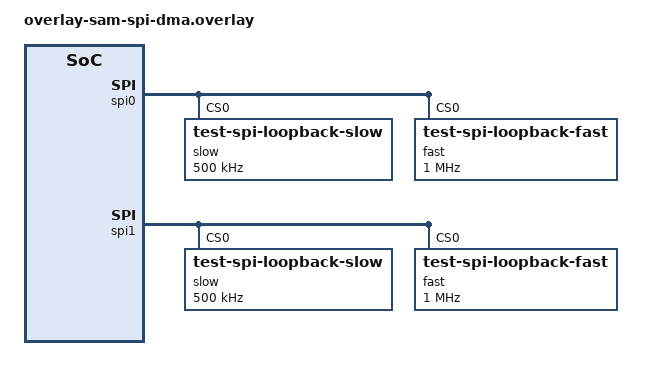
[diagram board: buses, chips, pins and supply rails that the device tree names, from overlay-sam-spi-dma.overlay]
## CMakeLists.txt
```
# SPDX-License-Identifier: Apache-2.0

cmake_minimum_required(VERSION 3.28.0)

find_package(Zephyr REQUIRED HINTS $ENV{ZEPHYR_BASE})
project(spi_loopback)

target_sources(app PRIVATE src/spi.c)
target_sources_ifdef(CONFIG_SPI_RTIO app PRIVATE src/spi_rtio.c)
target_sources_ifdef(CONFIG_SPI_LOOPBACK_PM app PRIVATE src/test_spi_pm.c)
target_include_directories(app PRIVATE ${ZEPHYR_BASE}/drivers/spi)
```

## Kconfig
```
# SPDX-License-Identifier: Apache-2.0

mainmenu "SPI Loopback Test"

source "Kconfig.zephyr"

config SPI_LOOPBACK_MODE_LOOP
	bool "Configure the SPI in LOOP mode, so that no extra wiring is needed"

config SPI_LARGE_BUFFER_SIZE
	int "Large buffer size"
	default 8192

config SPI_LOOPBACK_PM
	bool "SPI loopback light sleep test"
	depends on PM
	help
	  Run the light sleep cases in the SPI loopback suite.

config SPI_IDEAL_TRANSFER_DURATION_SCALING
	int "Scaling factor to compare ideal and measured SPI transfer duration"
	default 40 if SPI_NXP_LPSPI_DMA || SPI_MCUX_FLEXIO
	default 8

config SPI_LOOPBACK_TEST_BUSY_DEINIT
	bool "Exercise device_deinit() while a transfer is in flight"
	depends on SPI_ASYNC
	help
	  Enable test_spi_deinit_busy, which asserts the driver rejects
	  device_deinit() with -EBUSY while an asynchronous transfer is still in
	  flight, then succeeds once it completes. Select this only on drivers
	  that implement that busy guard.

if SOC_SERIES_STM32H7X

config SPI_LOOPBACK_16BITS_FRAMES
	bool "Use 16 bits frames for tests"

config DT_DEFINED_NOCACHE
	bool "Enable this if nocache regions are defined in devicetree"

if DT_DEFINED_NOCACHE

config DT_DEFINED_NOCACHE_NAME
	string "Name of the nocache region defined in devicetree (capitals)"

endif # DT_DEFINED_NOCACHE

endif # SOC_SERIES_STM32H7X
```

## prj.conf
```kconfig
CONFIG_TEST=y
CONFIG_BOOT_BANNER=y
CONFIG_SPI=y
CONFIG_SPI_ASYNC=y
CONFIG_SPI_LOG_LEVEL_INF=y
CONFIG_ZTEST=y
CONFIG_ZTEST_THREAD_PRIORITY=1
CONFIG_DEVICE_DEINIT_SUPPORT=y
```

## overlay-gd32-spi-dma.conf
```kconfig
# enable DMA mode for SPI loopback test
CONFIG_SPI_GD32_DMA=y
```

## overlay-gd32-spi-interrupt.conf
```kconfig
# enable interrupt mode for SPI loopback test
CONFIG_SPI_GD32_INTERRUPT=y
```

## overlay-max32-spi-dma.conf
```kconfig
#
# Copyright (c) 2024 Analog Devices, Inc.
#
# SPDX-License-Identifier: Apache-2.0
#
CONFIG_SPI_MAX32_DMA=y
CONFIG_SPI_ASYNC=y
```

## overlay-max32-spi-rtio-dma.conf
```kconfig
#
# Copyright (c) 2024 Analog Devices, Inc.
#
# SPDX-License-Identifier: Apache-2.0
#
CONFIG_SPI_RTIO=y
CONFIG_SPI_ASYNC=n
CONFIG_SPI_MAX32_DMA=y
```

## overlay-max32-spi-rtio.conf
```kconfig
#
# Copyright (c) 2024 Analog Devices, Inc.
#
# SPDX-License-Identifier: Apache-2.0
#
CONFIG_SPI_RTIO=y
CONFIG_SPI_ASYNC=n
```

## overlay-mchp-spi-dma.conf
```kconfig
# Copyright (c) 2026 Microchip Technology Inc.
# SPDX-License-Identifier: Apache-2.0

CONFIG_DMA=y
```

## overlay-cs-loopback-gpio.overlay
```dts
#include <zephyr/dt-bindings/gpio/gpio.h>
#include <zephyr/dt-bindings/gpio/arduino-header-r3.h>

/ {
	zephyr,user {
		/* Connect your SPI CS pin to the D8 pin to run the test */
		cs-loopback-gpios = <&arduino_header>,
				    <ARDUINO_HEADER_R3_D8>,
				    <(GPIO_ACTIVE_LOW | GPIO_PUSH_PULL | GPIO_PULL_UP)>;
	};
};
```

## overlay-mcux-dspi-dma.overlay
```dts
/*
 * Copyright (c) 2022 Kumar Gala <galak@kernel.org>
 *
 * SPDX-License-Identifier: Apache-2.0
 */

&spi0 {
	slow@0 {
		compatible = "test-spi-loopback-slow";
		reg = <0>;
		spi-max-frequency = <500000>;
	};

	fast@0 {
		compatible = "test-spi-loopback-fast";
		reg = <0>;
		spi-max-frequency = <1000000>;
	};
};
```

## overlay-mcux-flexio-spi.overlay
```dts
/*
 * Copyright (c) 2024, STRIM, ALC
 * Copyright (c) 2025, NXP
 *
 * SPDX-License-Identifier: Apache-2.0
 */

/* On RT1060 EVKC, SPI loopback test, short J17-9 and J17-10
 * On RT1064 EVK,  SPI loopback test, short J24-9 and J24-10
 */

&pinctrl {
	pinmux_flexio3spi0: pinmux_flexio3spi0 {
		group0 {
			pinmux = <&iomuxc_gpio_ad_b0_03_gpio1_io03>, /* cs */
				 <&iomuxc_gpio_ad_b1_10_flexio3_flexio10>, /* sck */
				 <&iomuxc_gpio_ad_b1_00_flexio3_flexio00>, /* sdo */
				 <&iomuxc_gpio_ad_b1_01_flexio3_flexio01>; /* sdi */
			drive-strength = "r0-6";
			slew-rate = "slow";
			nxp,speed = "150-mhz";
		};
	};
};

&flexio3 {
	status = "okay";

	flexio3_spi0: flexio3_spi0 {
		compatible = "nxp,flexio-spi";
		#address-cells = <1>;
		#size-cells = <0>;
		cs-gpios = <&gpio1 3 GPIO_ACTIVE_LOW>;
		sdo-pin = <0>;
		sdi-pin = <1>;
		sck-pin = <10>;
		pinctrl-0 = <&pinmux_flexio3spi0>;
		pinctrl-names = "default";
		status = "okay";

		slow@0 {
			compatible = "test-spi-loopback-slow";
			reg = <0>;
			spi-max-frequency = <500000>;
			status = "okay";
		};

		fast@0 {
			compatible = "test-spi-loopback-fast";
			reg = <0>;
			spi-max-frequency = <16000000>;
			status = "okay";
		};
	};
};
```

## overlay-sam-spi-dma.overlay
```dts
/*
 * Copyright (c) 2022 Intel Corporation
 *
 * SPDX-License-Identifier: Apache-2.0
 */

&dma0 {
	status = "okay";
};

&spi0 {
	loopback;

	dmas = <&dma0 1 DMA_PERID_SPI0_TX>, <&dma0 2 DMA_PERID_SPI0_RX>;
	dma-names = "tx", "rx";

	slow@0 {
		compatible = "test-spi-loopback-slow";
		reg = <0>;
		spi-max-frequency = <500000>;
	};

	fast@0 {
		compatible = "test-spi-loopback-fast";
		reg = <0>;
		spi-max-frequency = <1000000>;
	};
};

&spi1 {
	loopback;

	dmas = <&dma0 3 DMA_PERID_SPI1_TX>, <&dma0 4 DMA_PERID_SPI1_RX>;
	dma-names = "tx", "rx";

	slow@0 {
		compatible = "test-spi-loopback-slow";
		reg = <0>;
		spi-max-frequency = <500000>;
	};

	fast@0 {
		compatible = "test-spi-loopback-fast";
		reg = <0>;
		spi-max-frequency = <1000000>;
	};
};
```

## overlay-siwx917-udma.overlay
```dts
/*
 * Copyright (c) 2026 Silicon Laboratories Inc.
 *
 * SPDX-License-Identifier: Apache-2.0
 */

&spi0 {
	dmas = <&dma0 11>, <&dma0 10>;
};
```

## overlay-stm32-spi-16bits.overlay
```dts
/*
 * Copyright (c) 2023 Graphcore Ltd, All rights reserved.
 *
 * SPDX-License-Identifier: Apache-2.0
 */

/* Set div-q to get test clk freq into acceptable SPI freq range */
&pll {
	/delete-property/ div-q;
	div-q = <8>;
};

&sram2 {
	zephyr,memory-attr = < DT_MEM_ARM(ATTR_MPU_RAM_NOCACHE) >;
};

&spi1 {
	dmas = <&dmamux1 0 38 (STM32_DMA_PERIPH_TX | STM32_DMA_PRIORITY_HIGH | STM32_DMA_MEM_16BITS | STM32_DMA_PERIPH_16BITS)
		&dmamux1 1 37 (STM32_DMA_PERIPH_RX | STM32_DMA_PRIORITY_HIGH | STM32_DMA_MEM_16BITS | STM32_DMA_PERIPH_16BITS)>;
	dma-names = "tx", "rx";
	slow@0 {
		compatible = "test-spi-loopback-slow";
		reg = <0>;
		spi-max-frequency = <500000>;
	};
	fast@0 {
		compatible = "test-spi-loopback-fast";
		reg = <0>;
		spi-max-frequency = <16000000>;
	};
};

&dma1 {
	status = "okay";
};

&dma2 {
	status = "okay";
};

&dmamux1 {
	status = "okay";
};
```

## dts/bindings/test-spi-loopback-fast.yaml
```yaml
#
# Copyright (c) 2022 Kumar Gala <galak@kernel.org>
#
# SPDX-License-Identifier: Apache-2.0
#

description: |
    This binding provides resources required to build and run the
    tests/drivers/spi/spi_loopback test in Zephyr.

compatible: "test-spi-loopback-fast"

include: [spi-device.yaml]
```

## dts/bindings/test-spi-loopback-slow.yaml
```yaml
#
# Copyright (c) 2022 Kumar Gala <galak@kernel.org>
#
# SPDX-License-Identifier: Apache-2.0
#

description: |
    This binding provides resources required to build and run the
    tests/drivers/spi/spi_loopback test in Zephyr.

compatible: "test-spi-loopback-slow"

include: [spi-device.yaml]
```

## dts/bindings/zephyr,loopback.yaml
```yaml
# Copyright (c) 2022, CSIRO.
# SPDX-License-Identifier: Apache-2.0

description: |
  SPI Loopback Device

compatible: "zephyr,spi-loopback"

include: spi-device.yaml
```

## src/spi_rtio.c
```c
/*
 * Copyright (c) 2023 Intel Corporation.
 *
 * SPDX-License-Identifier: Apache-2.0
 */

#include <zephyr/devicetree.h>
#define LOG_LEVEL CONFIG_LOG_DEFAULT_LEVEL
#include <zephyr/logging/log.h>
LOG_MODULE_REGISTER(spi_rtio_loopback);

#include <zephyr/kernel.h>
#include <zephyr/sys/printk.h>
#include <string.h>
#include <stdio.h>
#include <zephyr/ztest.h>

#include <zephyr/rtio/rtio.h>
#include <zephyr/drivers/spi.h>
#include "spi_rtio.h"

#define SPI_FAST_DEV	DT_COMPAT_GET_ANY_STATUS_OKAY(test_spi_loopback_fast)
#define SPI_SLOW_DEV	DT_COMPAT_GET_ANY_STATUS_OKAY(test_spi_loopback_slow)

#if CONFIG_SPI_LOOPBACK_MODE_LOOP
#define MODE_LOOP SPI_MODE_LOOP
#else
#define MODE_LOOP 0
#endif

#define SPI_OP SPI_OP_MODE_CONTROLLER | SPI_MODE_CPOL | MODE_LOOP | \
	       SPI_MODE_CPHA | SPI_WORD_SET(8) | SPI_LINES_SINGLE

static SPI_DT_IODEV_DEFINE(spi_fast, SPI_FAST_DEV, SPI_OP);
static SPI_DT_IODEV_DEFINE(spi_slow, SPI_FAST_DEV, SPI_OP);

RTIO_DEFINE(r, 8, 8);

/* to run this test, connect the SDO pin to the SDI of the SPI */

#define STACK_SIZE (512 + CONFIG_TEST_EXTRA_STACK_SIZE)
#define BUF_SIZE 17
#define BUF2_SIZE 36

#if CONFIG_NOCACHE_MEMORY
static const char tx_data[BUF_SIZE] = "0123456789abcdef\0";
static __aligned(32) char buffer_tx[BUF_SIZE] __used __attribute__((__section__(".nocache")));
static __aligned(32) char buffer_rx[BUF_SIZE] __used __attribute__((__section__(".nocache")));
static const char tx2_data[BUF2_SIZE] = "Thequickbrownfoxjumpsoverthelazydog\0";
static __aligned(32) char buffer2_tx[BUF2_SIZE] __used __attribute__((__section__(".nocache")));
static __aligned(32) char buffer2_rx[BUF2_SIZE] __used __attribute__((__section__(".nocache")));
#else
/* this src memory shall be in RAM to support using as a DMA source pointer.*/
static uint8_t buffer_tx[] = "0123456789abcdef\0";
static uint8_t buffer_rx[BUF_SIZE] = {};

static uint8_t buffer2_tx[] = "Thequickbrownfoxjumpsoverthelazydog\0";
static uint8_t buffer2_rx[BUF2_SIZE] = {};
#endif

/*
 * We need 5x(buffer size) + 1 to print a comma-separated list of each
 * byte in hex, plus a null.
 */
static uint8_t buffer_print_tx[BUF_SIZE * 5 + 1];
static uint8_t buffer_print_rx[BUF_SIZE * 5 + 1];

static uint8_t buffer_print_tx2[BUF2_SIZE * 5 + 1];
static uint8_t buffer_print_rx2[BUF2_SIZE * 5 + 1];



static void to_display_format(const uint8_t *src, size_t size, char *dst)
{
	size_t i;

	for (i = 0; i < size; i++) {
		sprintf(dst + 5 * i, "0x%02x,", src[i]);
	}
}

/* test transferring different buffers on the same dma channels */
static int spi_complete_multiple(struct rtio_iodev *spi_iodev)
{
	struct rtio_sqe *sqe;
	struct rtio_cqe *cqe;
	int ret;

	sqe = rtio_sqe_acquire(&r);
	rtio_sqe_prep_transceive(sqe, spi_iodev, RTIO_PRIO_NORM,
				buffer_tx, buffer_rx, BUF_SIZE, NULL);
	sqe->flags |= RTIO_SQE_TRANSACTION;
	sqe = rtio_sqe_acquire(&r);
	rtio_sqe_prep_transceive(sqe, spi_iodev, RTIO_PRIO_NORM,
				 buffer2_tx, buffer2_rx, BUF2_SIZE, NULL);

	LOG_INF("Start complete multiple");
	rtio_submit(&r, 1);
	cqe = rtio_cqe_consume(&r);
	ret = cqe->result;
	rtio_cqe_release(&r, cqe);

	if (ret) {
		LOG_ERR("Code %d", ret);
		zassert_false(ret, "SPI transceive failed");
		return ret;
	}

	if (memcmp(buffer_tx, buffer_rx, BUF_SIZE)) {
		to_display_format(buffer_tx, BUF_SIZE, buffer_print_tx);
		to_display_format(buffer_rx, BUF_SIZE, buffer_print_rx);
		LOG_ERR("Buffer contents are different: %s", buffer_print_tx);
		LOG_ERR("                           vs: %s", buffer_print_rx);
		zassert_false(1, "Buffer contents are different");
		return -1;
	}

	if (memcmp(buffer2_tx, buffer2_rx, BUF2_SIZE)) {
		to_display_format(buffer2_tx, BUF2_SIZE, buffer_print_tx2);
		to_display_format(buffer2_rx, BUF2_SIZE, buffer_print_rx2);
		LOG_ERR("Buffer 2 contents are different: %s", buffer_print_tx2);
		LOG_ERR("                             vs: %s", buffer_print_rx2);
		zassert_false(1, "Buffer 2 contents are different");
		return -1;
	}

	LOG_INF("Passed");

	return 0;
}

static int spi_complete_loop(struct rtio_iodev *spi_iodev)
{
	struct rtio_sqe *sqe;
	struct rtio_cqe *cqe;
	int ret;

	sqe = rtio_sqe_acquire(&r);
	rtio_sqe_prep_transceive(sqe, spi_iodev, RTIO_PRIO_NORM,
				 buffer_tx,  buffer_rx, BUF_SIZE, NULL);

	LOG_INF("Start complete loop");

	rtio_submit(&r, 1);
	cqe = rtio_cqe_consume(&r);
	ret = cqe->result;
	rtio_cqe_release(&r, cqe);

	if (ret) {
		LOG_ERR("Code %d", ret);
		zassert_false(ret, "SPI transceive failed");
		return ret;
	}

	if (memcmp(buffer_tx, buffer_rx, BUF_SIZE)) {
		to_display_format(buffer_tx, BUF_SIZE, buffer_print_tx);
		to_display_format(buffer_rx, BUF_SIZE, buffer_print_rx);
		LOG_ERR("Buffer contents are different: %s", buffer_print_tx);
		LOG_ERR("                           vs: %s", buffer_print_rx);
		zassert_false(1, "Buffer contents are different");
		return -1;
	}

	LOG_INF("Passed");

	return 0;
}

static int spi_null_tx_buf(struct rtio_iodev *spi_iodev)
{
	static const uint8_t EXPECTED_NOP_RETURN_BUF[BUF_SIZE] = { 0 };

	struct rtio_sqe *sqe;
	struct rtio_cqe *cqe;
	int ret;

	(void)memset(buffer_rx, 0x77, BUF_SIZE);

	sqe = rtio_sqe_acquire(&r);
	rtio_sqe_prep_read(sqe, spi_iodev, RTIO_PRIO_NORM,
				 buffer_rx, BUF_SIZE,
				 NULL);

	LOG_INF("Start null tx");

	rtio_submit(&r, 1);
	cqe = rtio_cqe_consume(&r);
	ret = cqe->result;
	rtio_cqe_release(&r, cqe);

	if (ret) {
		LOG_ERR("Code %d", ret);
		zassert_false(ret, "SPI transceive failed");
		return ret;
	}


	if (memcmp(buffer_rx, EXPECTED_NOP_RETURN_BUF, BUF_SIZE)) {
		to_display_format(buffer_rx, BUF_SIZE, buffer_print_rx);
		LOG_ERR("Rx Buffer should contain NOP frames but got: %s",
			buffer_print_rx);
		zassert_false(1, "Buffer not as expected");
		return -1;
	}

	LOG_INF("Passed");

	return 0;
}

static int spi_rx_half_start(struct rtio_iodev *spi_iodev)
{
	struct rtio_sqe *sqe;
	struct rtio_cqe *cqe;
	int ret;

	sqe = rtio_sqe_acquire(&r);
	rtio_sqe_prep_transceive(sqe, spi_iodev, RTIO_PRIO_NORM,
				 buffer_tx, buffer_rx, 8, NULL);
	sqe->flags |= RTIO_SQE_TRANSACTION;
	sqe = rtio_sqe_acquire(&r);
	rtio_sqe_prep_write(sqe, spi_iodev, RTIO_PRIO_NORM,
				 &buffer_tx[8], BUF_SIZE-8, NULL);


	LOG_INF("Start half start");

	(void)memset(buffer_rx, 0, BUF_SIZE);

	rtio_submit(&r, 1);
	cqe = rtio_cqe_consume(&r);
	ret = cqe->result;
	rtio_cqe_release(&r, cqe);

	if (ret) {
		LOG_ERR("Code %d", ret);
		zassert_false(ret, "SPI transceive failed");
		return -1;
	}

	if (memcmp(buffer_tx, buffer_rx, 8)) {
		to_display_format(buffer_tx, 8, buffer_print_tx);
		to_display_format(buffer_rx, 8, buffer_print_rx);
		LOG_ERR("Buffer contents are different: %s", buffer_print_tx);
		LOG_ERR("                           vs: %s", buffer_print_rx);
		zassert_false(1, "Buffer contents are different");
		return -1;
	}

	LOG_INF("Passed");

	return 0;
}

static int spi_rx_half_end(struct rtio_iodev *spi_iodev)
{
	struct rtio_sqe *sqe;
	struct rtio_cqe *cqe;
	int ret;

	if (IS_ENABLED(CONFIG_SPI_STM32_DMA)) {
		LOG_INF("Skip half end");
		return 0;
	}

	if (IS_ENABLED(CONFIG_SPI_MAX32_DMA)) {
		LOG_INF("Skip half end");
		return 0;
	}

	sqe = rtio_sqe_acquire(&r);
	rtio_sqe_prep_write(sqe, spi_iodev, RTIO_PRIO_NORM,
				 buffer_tx, 8, NULL);
	sqe->flags |= RTIO_SQE_TRANSACTION;

	sqe = rtio_sqe_acquire(&r);
	rtio_sqe_prep_transceive(sqe, spi_iodev, RTIO_PRIO_NORM,
				 &buffer_tx[8],
				 buffer_rx, 8,
				 NULL);

	sqe = rtio_sqe_acquire(&r);
	rtio_sqe_prep_write(sqe, spi_iodev, RTIO_PRIO_NORM,
		&buffer_tx[16], BUF_SIZE-16, NULL);

	LOG_INF("Start half end");

	(void)memset(buffer_rx, 0, BUF_SIZE);

	rtio_submit(&r, 1);
	cqe = rtio_cqe_consume(&r);
	ret = cqe->result;
	rtio_cqe_release(&r, cqe);

	if (ret) {
		LOG_ERR("Code %d", ret);
		zassert_false(ret, "SPI transceive failed");
		return -1;
	}

	if (memcmp(buffer_tx + 8, buffer_rx, 8)) {
		to_display_format(buffer_tx + 8, 8, buffer_print_tx);
		to_display_format(buffer_rx, 8, buffer_print_rx);
		LOG_ERR("Buffer contents are different: %s", buffer_print_tx);
		LOG_ERR("                           vs: %s", buffer_print_rx);
		zassert_false(1, "Buffer contents are different");
		return -1;
	}

	LOG_INF("Passed");

	return 0;
}

static int spi_rx_every_4(struct rtio_iodev *spi_iodev)
{
	struct rtio_sqe *sqe;
	struct rtio_cqe *cqe;
	int ret;

	if (IS_ENABLED(CONFIG_SPI_STM32_DMA)) {
		LOG_INF("Skip every 4");
		return 0;
	}

	if (IS_ENABLED(CONFIG_DSPI_MCUX_EDMA)) {
		LOG_INF("Skip every 4");
		return 0;
	}

	if (IS_ENABLED(CONFIG_SPI_MAX32_DMA)) {
		LOG_INF("Skip every 4");
		return 0;
	}

	sqe = rtio_sqe_acquire(&r);
	rtio_sqe_prep_write(sqe, spi_iodev, RTIO_PRIO_NORM,
				 buffer_tx, 4,
				 NULL);
	sqe->flags |= RTIO_SQE_TRANSACTION;
	sqe = rtio_sqe_acquire(&r);
	rtio_sqe_prep_transceive(sqe, spi_iodev, RTIO_PRIO_NORM,
				 &buffer_tx[4], buffer_rx, 4, NULL);
	sqe->flags |= RTIO_SQE_TRANSACTION;
	sqe = rtio_sqe_acquire(&r);
	rtio_sqe_prep_write(sqe, spi_iodev, RTIO_PRIO_NORM,
				 &buffer_tx[8], (BUF_SIZE - 8),
				 NULL);
	sqe->flags |= RTIO_SQE_TRANSACTION;
	sqe = rtio_sqe_acquire(&r);
	rtio_sqe_prep_transceive(sqe, spi_iodev, RTIO_PRIO_NORM,
				 &buffer_tx[12], &buffer_rx[4], 4, NULL);
	sqe->flags |= RTIO_SQE_TRANSACTION;
	sqe = rtio_sqe_acquire(&r);
	rtio_sqe_prep_write(sqe, spi_iodev, RTIO_PRIO_NORM,
				 &buffer_tx[16], BUF_SIZE-16, NULL);

	LOG_INF("Start every 4");

	(void)memset(buffer_rx, 0, BUF_SIZE);

	rtio_submit(&r, 1);
	cqe = rtio_cqe_consume(&r);
	ret = cqe->result;
	rtio_cqe_release(&r, cqe);

	if (ret) {
		LOG_ERR("Code %d", ret);
		zassert_false(ret, "SPI transceive failed");
		return -1;
	}

	if (memcmp(buffer_tx + 4, buffer_rx, 4)) {
		to_display_format(buffer_tx + 4, 4, buffer_print_tx);
		to_display_format(buffer_rx, 4, buffer_print_rx);
		LOG_ERR("Buffer contents are different: %s", buffer_print_tx);
		LOG_ERR("                           vs: %s", buffer_print_rx);
		zassert_false(1, "Buffer contents are different");
		return -1;
	} else if (memcmp(buffer_tx + 12, buffer_rx + 4, 4)) {
		to_display_format(buffer_tx + 12, 4, buffer_print_tx);
		to_display_format(buffer_rx + 4, 4, buffer_print_rx);
		LOG_ERR("Buffer contents are different: %s", buffer_print_tx);
		LOG_ERR("                           vs: %s", buffer_print_rx);
		zassert_false(1, "Buffer contents are different");
		return -1;
	}

	LOG_INF("Passed");

	return 0;
}

/* Helper to submit, consume, and release all CQEs for a transaction safely */
static int spi_rtio_wait_and_drain(struct rtio *r_ctx, int count)
{
	struct rtio_cqe *cqe;
	int first_err = 0;

	int flush_err;

	rtio_submit(r_ctx, count);
	while (count > 0) {
		cqe = rtio_cqe_consume(r_ctx);
		count--;
		if (cqe != NULL) {
			if (cqe->result < 0 && first_err == 0) {
				first_err = cqe->result;
			}
			rtio_cqe_release(r_ctx, cqe);
		}
	}
	flush_err = rtio_flush_completion_queue(r_ctx);
	if (first_err == 0) {
		first_err = flush_err;
	}
	return first_err;
}

/* Test asymmetric SPI transceive with NULL (discard) buffers under RTIO */
static int spi_asymmetric_null_buffers(struct rtio_iodev *spi_iodev)
{
	struct rtio_sqe *last_sqe = NULL;
	int ret;
	int err;

	LOG_INF("Start asymmetric null buffers test");

	/* Test 1: Subsystem spi_rtio_copy decomposition of asymmetric buffers with small discard */
	struct spi_buf tx_buf_arr1[] = {
		{ .buf = buffer_tx, .len = 4 },
		{ .buf = buffer_tx + 4, .len = 4 },
	};
	struct spi_buf rx_buf_arr1[] = {
		{ .buf = NULL, .len = 4 },
		{ .buf = buffer_rx, .len = 4 },
	};
	struct spi_buf_set tx_set1 = { .buffers = tx_buf_arr1, .count = ARRAY_SIZE(tx_buf_arr1) };
	struct spi_buf_set rx_set1 = { .buffers = rx_buf_arr1, .count = ARRAY_SIZE(rx_buf_arr1) };

	(void)memset(buffer_rx, 0xaa, BUF_SIZE);

	ret = spi_rtio_copy(&r, spi_iodev, &tx_set1, &rx_set1, false, &last_sqe);
	zassert_true(ret > 0, "spi_rtio_copy failed with code %d", ret);

	err = spi_rtio_wait_and_drain(&r, ret);
	zassert_ok(err, "spi_rtio_copy Test 1 failed with error %d", err);
	zassert_mem_equal(buffer_rx, buffer_tx + 4, 4,
			  "Discard failed: buffer_rx did not match expected data");

	/* Test 2: Subsystem spi_rtio_copy multi-chunk scratch buffer discard */
	static const uint8_t expected_nop[4] = { 0 };
	struct spi_buf tx_buf_arr2[] = {
		{ .buf = buffer_tx, .len = 3 },
	};
	struct spi_buf rx_buf_arr2[] = {
		{ .buf = NULL, .len = 64 },
		{ .buf = buffer_rx, .len = 4 },
	};
	struct spi_buf_set tx_set2 = { .buffers = tx_buf_arr2, .count = ARRAY_SIZE(tx_buf_arr2) };
	struct spi_buf_set rx_set2 = { .buffers = rx_buf_arr2, .count = ARRAY_SIZE(rx_buf_arr2) };

	(void)memset(buffer_rx, 0xaa, BUF_SIZE);

	ret = spi_rtio_copy(&r, spi_iodev, &tx_set2, &rx_set2, false, &last_sqe);
	zassert_true(ret > 0, "spi_rtio_copy multi-chunk failed with code %d", ret);

	err = spi_rtio_wait_and_drain(&r, ret);
	zassert_ok(err, "spi_rtio_copy multi-chunk failed with error %d", err);
	zassert_mem_equal(buffer_rx, expected_nop, 4,
			  "Multi-chunk discard failed: expected NOP received data");
	zassert_equal((uint8_t)buffer_rx[4], 0xaa,
		      "Multi-chunk discard overflowed receive buffer");

	/* Test 3: Multi-chunk scratch buffer discard with payload data verification */
	struct spi_buf tx_buf_arr3[] = {
		{ .buf = NULL, .len = 64 },
		{ .buf = buffer_tx, .len = 4 },
	};
	struct spi_buf rx_buf_arr3[] = {
		{ .buf = NULL, .len = 64 },
		{ .buf = buffer_rx, .len = 4 },
	};
	struct spi_buf_set tx_set3 = { .buffers = tx_buf_arr3, .count = ARRAY_SIZE(tx_buf_arr3) };
	struct spi_buf_set rx_set3 = { .buffers = rx_buf_arr3, .count = ARRAY_SIZE(rx_buf_arr3) };

	(void)memset(buffer_rx, 0xaa, BUF_SIZE);

	ret = spi_rtio_copy(&r, spi_iodev, &tx_set3, &rx_set3, false, &last_sqe);
	zassert_true(ret > 0, "spi_rtio_copy Test 3 failed with code %d", ret);

	err = spi_rtio_wait_and_drain(&r, ret);
	zassert_ok(err, "spi_rtio_copy Test 3 failed with error %d", err);
	zassert_mem_equal(buffer_rx, buffer_tx, 4,
			  "Multi-chunk discard failed: payload mismatch after 64 discard bytes");

	/* Test 4: Standalone discard read with NO TX buffer (tx_bufs == NULL) */
	struct spi_buf rx_buf_arr4[] = {
		{ .buf = NULL, .len = 64 },
	};
	struct spi_buf_set rx_set4 = { .buffers = rx_buf_arr4, .count = ARRAY_SIZE(rx_buf_arr4) };

	ret = spi_rtio_copy(&r, spi_iodev, NULL, &rx_set4, false, &last_sqe);
	zassert_true(ret > 0, "spi_rtio_copy read-only discard failed with code %d", ret);

	err = spi_rtio_wait_and_drain(&r, ret);
	zassert_ok(err, "spi_rtio_copy read-only discard failed with error %d", err);
	LOG_INF("Passed asymmetric null buffers test");
	return 0;
}

/* the second transaction starts from the completion of the first one */
static int spi_queued_transactions(struct rtio_iodev *spi_iodev)
{
	struct rtio_sqe *sqe;
	int err;

	for (int i = 0; i < 2; i++) {
		sqe = rtio_sqe_acquire(&r);
		rtio_sqe_prep_transceive(sqe, spi_iodev, RTIO_PRIO_NORM, buffer_tx, buffer_rx,
					 BUF_SIZE, NULL);
		sqe->flags |= RTIO_SQE_TRANSACTION;
		sqe = rtio_sqe_acquire(&r);
		rtio_sqe_prep_transceive(sqe, spi_iodev, RTIO_PRIO_NORM, buffer2_tx, buffer2_rx,
					 BUF2_SIZE, NULL);
	}

	LOG_INF("Start queued transactions");
	err = spi_rtio_wait_and_drain(&r, 4);
	zassert_ok(err, "Queued transactions failed with error %d", err);
	zassert_mem_equal(buffer_tx, buffer_rx, BUF_SIZE, "Buffer contents are different");
	zassert_mem_equal(buffer2_tx, buffer2_rx, BUF2_SIZE, "Buffer 2 contents are different");
	LOG_INF("Passed queued transactions test");

	return 0;
}

ZTEST(spi_loopback_rtio, test_spi_loopback_rtio)
{

	LOG_INF("SPI test on buffers TX/RX %p/%p", buffer_tx, buffer_rx);

	zassert_true(spi_is_ready_iodev(&spi_slow), "Slow spi lookback device is not ready");

	LOG_INF("SPI test slow config");

	if (spi_complete_multiple(&spi_slow) ||
	    spi_queued_transactions(&spi_slow) ||
	    spi_complete_loop(&spi_slow) ||
	    spi_null_tx_buf(&spi_slow) ||
	    spi_rx_half_start(&spi_slow) ||
	    spi_rx_half_end(&spi_slow) ||
	    spi_rx_every_4(&spi_slow) ||
	    spi_asymmetric_null_buffers(&spi_slow)
	    ) {
		goto end;
	}

	zassert_true(spi_is_ready_iodev(&spi_fast), "Fast spi lookback device is not ready");

	LOG_INF("SPI test fast config");

	if (spi_complete_multiple(&spi_fast) ||
	    spi_queued_transactions(&spi_fast) ||
	    spi_complete_loop(&spi_fast) ||
	    spi_null_tx_buf(&spi_fast) ||
	    spi_rx_half_start(&spi_fast) ||
	    spi_rx_half_end(&spi_fast) ||
	    spi_rx_every_4(&spi_fast) ||
	    spi_asymmetric_null_buffers(&spi_fast)
	    ) {
		goto end;
	}

	LOG_INF("All tx/rx passed");
end:
}

static void *spi_loopback_setup(void)
{
#if CONFIG_NOCACHE_MEMORY
	memset(buffer_tx, 0, sizeof(buffer_tx));
	memcpy(buffer_tx, tx_data, sizeof(tx_data));
	memset(buffer2_tx, 0, sizeof(buffer2_tx));
	memcpy(buffer2_tx, tx2_data, sizeof(tx2_data));
#endif
	return NULL;
}

static void spi_loopback_rtio_before(void *fixture)
{
	(void)rtio_flush_completion_queue(&r);
}

ZTEST_SUITE(spi_loopback_rtio, NULL, spi_loopback_setup, spi_loopback_rtio_before, NULL, NULL);
```

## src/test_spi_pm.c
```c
/*
 * SPDX-FileCopyrightText: Copyright (c) 2026 Espressif Systems (Shanghai) CO LTD
 * SPDX-License-Identifier: Apache-2.0
 */

#include <string.h>

#include <zephyr/kernel.h>
#include <zephyr/ztest.h>
#include <zephyr/drivers/spi.h>
#include <zephyr/pm/pm.h>

#define SPI_PM_FRAME_SIZE 8192
#define SPI_PM_IDLE_WINDOW_MS 100

#define MODE_LOOP COND_CODE_1(CONFIG_SPI_LOOPBACK_MODE_LOOP, (SPI_MODE_LOOP), (0))
#define SPI_PM_OP                                                                                  \
	(SPI_OP_MODE_CONTROLLER | SPI_MODE_CPOL | MODE_LOOP | SPI_MODE_CPHA |                      \
	 SPI_WORD_SET(8) | SPI_LINES_SINGLE)

#define SPI_SLOW_DEV DT_COMPAT_GET_ANY_STATUS_OKAY(test_spi_loopback_slow)
static struct spi_dt_spec spi_slow = SPI_DT_SPEC_GET(SPI_SLOW_DEV, SPI_PM_OP);

#ifdef CONFIG_NOCACHE_MEMORY
#define SPI_PM_NOCACHE __attribute__((__section__(".nocache")))
#elif defined(CONFIG_DT_DEFINED_NOCACHE)
#define SPI_PM_NOCACHE __attribute__((__section__(CONFIG_DT_DEFINED_NOCACHE_NAME)))
#else
#define SPI_PM_NOCACHE
#endif

#if !defined(CONFIG_NOCACHE_MEMORY) && !defined(CONFIG_DT_DEFINED_NOCACHE) && \
	(CONFIG_DCACHE_LINE_SIZE != 0)
#define SPI_PM_ALIGN __aligned(CONFIG_DCACHE_LINE_SIZE)
#else
#define SPI_PM_ALIGN __aligned(32)
#endif

static SPI_PM_ALIGN uint8_t spi_pm_tx[SPI_PM_FRAME_SIZE] SPI_PM_NOCACHE;
static SPI_PM_ALIGN uint8_t spi_pm_rx[SPI_PM_FRAME_SIZE] SPI_PM_NOCACHE;

static atomic_t spi_pm_standby_entries;
#if defined(CONFIG_SPI_ASYNC)
static int spi_pm_cb_result;
static K_SEM_DEFINE(spi_pm_cb_sem, 0, 1);
#endif

static void spi_pm_state_entry(enum pm_state state)
{
	if (state == PM_STATE_STANDBY) {
		atomic_inc(&spi_pm_standby_entries);
	}
}

static struct pm_notifier spi_pm_notifier = {
	.state_entry = spi_pm_state_entry,
};

#if defined(CONFIG_SPI_ASYNC)
static void spi_pm_cb(const struct device *dev, int result, void *userdata)
{
	ARG_UNUSED(dev);
	ARG_UNUSED(userdata);

	spi_pm_cb_result = result;
	k_sem_give(&spi_pm_cb_sem);
}
#endif

static void spi_pm_expect_sleep(void)
{
	atomic_clear(&spi_pm_standby_entries);
	k_sleep(K_MSEC(SPI_PM_IDLE_WINDOW_MS));
	zassert_true(atomic_get(&spi_pm_standby_entries) > 0,
		     "System stayed active during the idle window");
}

static void spi_pm_prepare(void)
{
	for (int i = 0; i < SPI_PM_FRAME_SIZE; i++) {
		spi_pm_tx[i] = (uint8_t)i;
	}

	memset(spi_pm_rx, 0, sizeof(spi_pm_rx));
}

static void spi_pm_check(void)
{
	zassert_equal(memcmp(spi_pm_tx, spi_pm_rx, sizeof(spi_pm_tx)), 0,
		      "RX buffer does not match TX");
}

static void spi_pm_transfer(bool asynchronous)
{
	const struct spi_buf tx_buf = {
		.buf = spi_pm_tx,
		.len = sizeof(spi_pm_tx),
	};
	const struct spi_buf rx_buf = {
		.buf = spi_pm_rx,
		.len = sizeof(spi_pm_rx),
	};
	const struct spi_buf_set tx = {
		.buffers = &tx_buf,
		.count = 1,
	};
	const struct spi_buf_set rx = {
		.buffers = &rx_buf,
		.count = 1,
	};
	int ret;

	spi_pm_prepare();

	if (!asynchronous) {
		ret = spi_transceive_dt(&spi_slow, &tx, &rx);
		zassert_ok(ret, "SPI transceive failed, code %d", ret);
		spi_pm_check();
		return;
	}

#if defined(CONFIG_SPI_ASYNC)
	spi_pm_cb_result = -EIO;
	k_sem_reset(&spi_pm_cb_sem);

	ret = spi_transceive_cb(spi_slow.bus, &spi_slow.config, &tx, &rx, spi_pm_cb, NULL);
	zassert_ok(ret, "SPI async transceive failed, code %d", ret);

	zassert_ok(k_sem_take(&spi_pm_cb_sem, K_MSEC(2000)), "SPI async completion timeout");
	zassert_ok(spi_pm_cb_result, "SPI async transceive failed, code %d", spi_pm_cb_result);
	spi_pm_check();
#endif
}

static void spi_pm_run(bool asynchronous)
{
	zassert_true(device_is_ready(spi_slow.bus), "SPI device is not ready");

	pm_notifier_register(&spi_pm_notifier);

	/* The second pass sleeps after a finished transfer, so the controller
	 * has to come back from light sleep with its configuration intact.
	 */
	for (int cycle = 0; cycle < 2; cycle++) {
		spi_pm_expect_sleep();
		spi_pm_transfer(asynchronous);
	}
}

static void spi_pm_after(void *fixture)
{
	ARG_UNUSED(fixture);

	pm_notifier_unregister(&spi_pm_notifier);
}

ZTEST(spi_pm, test_spi_pm_light_sleep)
{
	spi_pm_run(false);
}

#if defined(CONFIG_SPI_ASYNC)
ZTEST(spi_pm, test_spi_pm_light_sleep_async)
{
	spi_pm_run(true);
}
#endif

ZTEST_SUITE(spi_pm, NULL, NULL, NULL, spi_pm_after, NULL);
```
